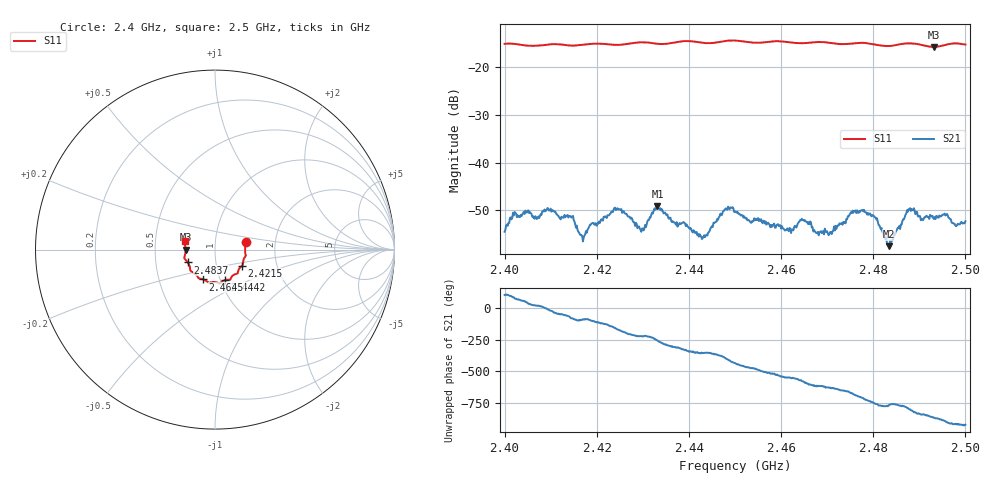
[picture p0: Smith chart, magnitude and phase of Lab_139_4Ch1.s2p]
# Hz S RI R 50
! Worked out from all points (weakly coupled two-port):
!   601 points, 2.4 GHz to 2.5 GHz, reference 50 ohm
!   highest |S21| = -49.10 dB at 2.4332 GHz (marker M1); lowest = -57.5 dB at 2.4833 GHz (marker M2)
!   lowest |S11| = -15.7 dB at 2.4932 GHz (marker M3), VSWR 1.39, Z = 35.9 - j0.0565 ohm
!   |S11| at or under -10 dB: start of sweep to end of sweep
!   S12 and S22 are empty: the file has one direction only
!   S11 on the Smith chart (normalised r, x): 2.4 GHz: 1.41, +0.12; 2.4215 GHz: 1.33, -0.25; 2.4442 GHz: 1.05, -0.37; 2.4645 GHz: 0.83, -0.29; 2.4837 GHz: 0.73, -0.11; 2.5 GHz: 0.71, +0.07
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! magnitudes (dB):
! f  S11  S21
! 2.4 GHz  -15.1  -54.5
! 2.402 GHz  -15.1  -51.0
! 2.4095 GHz  -15.2  -49.8
! 2.4145 GHz  -15.5  -51.5
! 2.4167 GHz  -15.3  -55.1
! 2.4215 GHz  -15.1  -51.3
! 2.4248 GHz  -15.3  -49.7
! 2.4298 GHz  -14.8  -53.8
! 2.4332 GHz  -15.1  -49.1
! 2.4333 GHz  -15.1  -49.4
! 2.4442 GHz  -15.0  -54.7
! 2.45 GHz  -14.4  -50.2
! 2.4612 GHz  -14.7  -54.1
! 2.4645 GHz  -15.0  -51.8
! 2.4667 GHz  -14.8  -53.6
! 2.4707 GHz  -14.9  -54.5
! 2.4778 GHz  -14.9  -50.2
! 2.4833 GHz  -15.6  -57.5
! 2.4837 GHz  -15.5  -56.3
! 2.4878 GHz  -15.0  -49.8
! 2.4932 GHz  -15.7  -51.8
! 2.5 GHz  -15.2  -52.3
